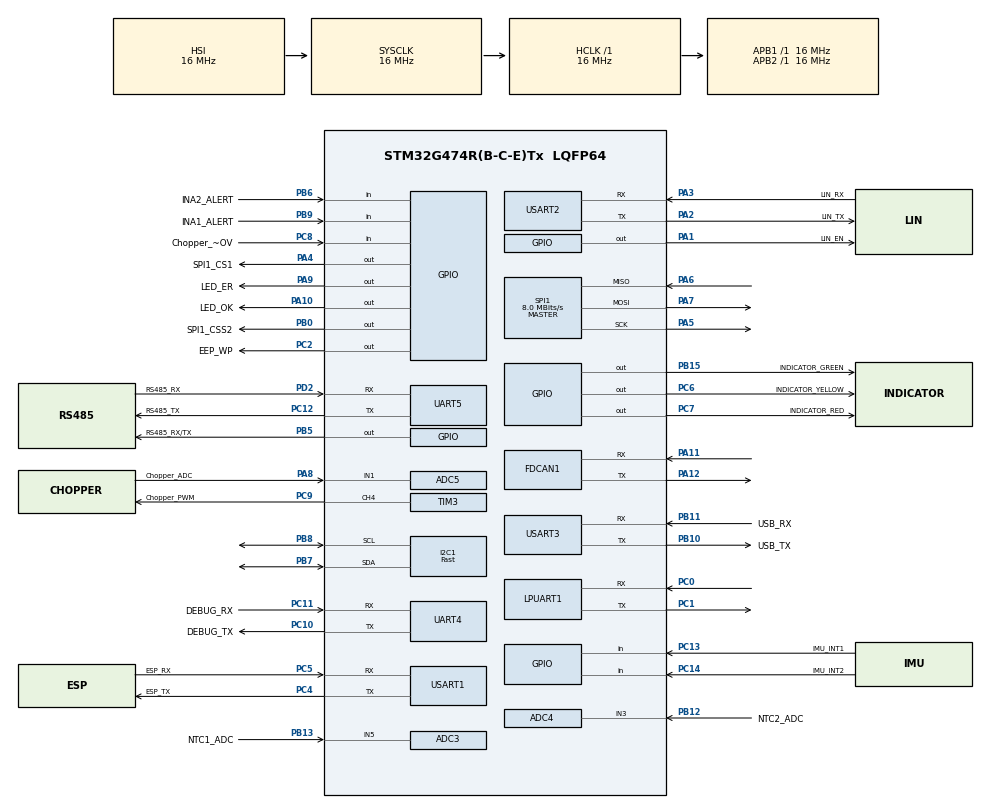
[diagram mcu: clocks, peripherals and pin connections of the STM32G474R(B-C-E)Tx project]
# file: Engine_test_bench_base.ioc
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ADC3.Channel-1\#ChannelRegularConversion=ADC_CHANNEL_5
ADC3.NbrOfConversionFlag=1
ADC3.OffsetNumber-1\#ChannelRegularConversion=ADC_OFFSET_NONE
ADC3.Rank-1\#ChannelRegularConversion=1
ADC3.SamplingTime-1\#ChannelRegularConversion=ADC_SAMPLETIME_2CYCLES_5
ADC3.master=1
ADC4.Channel-0\#ChannelRegularConversion=ADC_CHANNEL_3
ADC4.NbrOfConversionFlag=1
ADC4.OffsetNumber-0\#ChannelRegularConversion=ADC_OFFSET_NONE
ADC4.Rank-0\#ChannelRegularConversion=1
ADC4.SamplingTime-0\#ChannelRegularConversion=ADC_SAMPLETIME_2CYCLES_5
ADC5.Channel-1\#ChannelRegularConversion=ADC_CHANNEL_1
ADC5.NbrOfConversionFlag=1
ADC5.OffsetNumber-1\#ChannelRegularConversion=ADC_OFFSET_NONE
ADC5.Rank-1\#ChannelRegularConversion=1
ADC5.SamplingTime-1\#ChannelRegularConversion=ADC_SAMPLETIME_2CYCLES_5
Dma.Request0=USART1_RX
Dma.Request1=USART1_TX
Dma.USART1_RX.0.Direction=DMA_PERIPH_TO_MEMORY
Dma.USART1_RX.0.EventEnable=DISABLE
Dma.USART1_RX.0.Instance=DMA1_Channel1
Dma.USART1_RX.0.MemDataAlignment=DMA_MDATAALIGN_BYTE
Dma.USART1_RX.0.MemInc=DMA_MINC_ENABLE
Dma.USART1_RX.0.Mode=DMA_CIRCULAR
Dma.USART1_RX.0.PeriphDataAlignment=DMA_PDATAALIGN_BYTE
Dma.USART1_RX.0.PeriphInc=DMA_PINC_DISABLE
Dma.USART1_RX.0.Polarity=HAL_DMAMUX_REQ_GEN_RISING
Dma.USART1_RX.0.Priority=DMA_PRIORITY_VERY_HIGH
Dma.USART1_RX.0.RequestNumber=1
Dma.USART1_RX.0.SignalID=NONE
Dma.USART1_RX.0.SyncEnable=DISABLE
Dma.USART1_RX.0.SyncPolarity=HAL_DMAMUX_SYNC_NO_EVENT
Dma.USART1_RX.0.SyncRequestNumber=1
Dma.USART1_RX.0.SyncSignalID=NONE
Dma.USART1_TX.1.Direction=DMA_MEMORY_TO_PERIPH
Dma.USART1_TX.1.EventEnable=DISABLE
Dma.USART1_TX.1.Instance=DMA2_Channel1
Dma.USART1_TX.1.MemDataAlignment=DMA_MDATAALIGN_BYTE
Dma.USART1_TX.1.MemInc=DMA_MINC_ENABLE
Dma.USART1_TX.1.Mode=DMA_NORMAL
Dma.USART1_TX.1.PeriphDataAlignment=DMA_PDATAALIGN_BYTE
Dma.USART1_TX.1.PeriphInc=DMA_PINC_DISABLE
Dma.USART1_TX.1.Polarity=HAL_DMAMUX_REQ_GEN_RISING
Dma.USART1_TX.1.Priority=DMA_PRIORITY_VERY_HIGH
Dma.USART1_TX.1.RequestNumber=1
Dma.USART1_TX.1.SignalID=NONE
Dma.USART1_TX.1.SyncEnable=DISABLE
Dma.USART1_TX.1.SyncPolarity=HAL_DMAMUX_SYNC_NO_EVENT
Dma.USART1_TX.1.SyncRequestNumber=1
Dma.USART1_TX.1.SyncSignalID=NONE
FDCAN1.AutoRetransmission=ENABLE
FDCAN1.CalculateBaudRateNominal=500000
FDCAN1.CalculateTimeBitNominal=2000
FDCAN1.CalculateTimeQuantumNominal=125.0
FDCAN1.DataTimeSeg1=5
FDCAN1.DataTimeSeg2=4
FDCAN1.ExtFiltersNbr=1
FDCAN1.Mode=FDCAN_MODE_NORMAL
FDCAN1.NominalPrescaler=2
FDCAN1.NominalSyncJumpWidth=12
FDCAN1.NominalTimeSeg1=13
FDCAN1.NominalTimeSeg2=2
FDCAN1.TransmitPause=DISABLE
FREERTOS.Tasks01=blinkTask,24,128,StartBlinkTask,Default,NULL,Dynamic,NULL,NULL;regulatorTask,24,128,StartRegulatorTask,Default,NULL,Dynamic,NULL,NULL;uartTxTask,24,128,StartUartTxTask,Default,NULL,Dynamic,NULL,NULL;uartRxTask,24,128,StartUartRxTask,Default,NULL,Dynamic,NULL,NULL;canTxBrakeTask,24,128,StartCanTxBrakeTask,Default,NULL,Dynamic,NULL,NULL;canTxTestTask,24,128,StartCanTxTestTask,Default,NULL,Dynamic,NULL,NULL;inaTask,24,128,StartInaTask,Default,NULL,Dynamic,NULL,NULL
FREERTOS.configTOTAL_HEAP_SIZE=6072
I2C1.I2C_Speed_Mode=I2C_Fast
I2C1.Timing=0x00300617
Mcu.Family=STM32G4
Mcu.Name=STM32G474R(B-C-E)Tx
Mcu.Package=LQFP64
NVIC.DMA1_Channel1_IRQn=true\:5\:0\:false\:false\:true\:true\:false\:true\:true
NVIC.DMA2_Channel1_IRQn=true\:5\:0\:false\:false\:true\:false\:false\:true\:true
NVIC.FDCAN1_IT0_IRQn=true\:5\:0\:false\:false\:true\:true\:true\:true\:true
NVIC.PriorityGroup=NVIC_PRIORITYGROUP_4
NVIC.TIM1_UP_TIM16_IRQn=true\:15\:0\:false\:false\:true\:false\:false\:true\:true
NVIC.TimeBase=TIM1_UP_TIM16_IRQn
NVIC.TimeBaseIP=TIM1
NVIC.USART1_IRQn=true\:5\:0\:false\:false\:true\:true\:true\:true\:true
PA1.GPIO_Label=LIN_EN
PA1.Signal=GPIO_Output
PA10.GPIO_Label=LED_OK
PA10.Signal=GPIO_Output
PA11.GPIO_Speed=GPIO_SPEED_FREQ_VERY_HIGH
PA11.Mode=FDCAN_Activate
PA11.Signal=FDCAN1_RX
PA12.GPIO_Speed=GPIO_SPEED_FREQ_VERY_HIGH
PA12.Mode=FDCAN_Activate
PA12.Signal=FDCAN1_TX
PA13.Mode=JTAG_5_pins
PA13.Signal=SYS_JTMS-SWDIO
PA14.Mode=JTAG_5_pins
PA14.Signal=SYS_JTCK-SWCLK
PA15.Mode=JTAG_5_pins
PA15.Signal=SYS_JTDI
PA2.GPIO_Label=LIN_TX
PA2.Mode=Asynchronous
PA2.Signal=USART2_TX
PA3.GPIO_Label=LIN_RX
PA3.Mode=Asynchronous
PA3.Signal=USART2_RX
PA4.GPIO_Label=SPI1_CS1
PA4.Signal=GPIO_Output
PA5.Mode=Full_Duplex_Master
PA5.Signal=SPI1_SCK
PA6.Mode=Full_Duplex_Master
PA6.Signal=SPI1_MISO
PA7.Mode=Full_Duplex_Master
PA7.Signal=SPI1_MOSI
PA8.GPIO_Label=Chopper_ADC
PA8.Mode=IN1-Single-Ended
PA8.Signal=ADC5_IN1
PA9.GPIO_Label=LED_ER
PA9.Signal=GPIO_Output
PB0.GPIO_Label=SPI1_CSS2
PB0.Signal=GPIO_Output
PB10.GPIO_Label=USB_TX
PB10.Mode=Asynchronous
PB10.Signal=USART3_TX
PB11.GPIO_Label=USB_RX
PB11.Mode=Asynchronous
PB11.Signal=USART3_RX
PB12.GPIO_Label=NTC2_ADC
PB12.Mode=IN3-Single-Ended
PB12.Signal=ADC4_IN3
PB13.GPIO_Label=NTC1_ADC
PB13.Mode=IN5-Single-Ended
PB13.Signal=ADC3_IN5
PB15.GPIO_Label=INDICATOR_GREEN
PB15.Signal=GPIO_Output
PB3.Mode=JTAG_5_pins
PB3.Signal=SYS_JTDO-SWO
PB4.Mode=JTAG_5_pins
PB4.Signal=SYS_JTRST
PB5.GPIO_Label=RS485_RX/TX
PB5.Signal=GPIO_Output
PB6.GPIO_Label=INA2_ALERT
PB6.Signal=GPIO_Input
PB7.Mode=I2C
PB7.Signal=I2C1_SDA
PB8-BOOT0.Mode=I2C
PB8-BOOT0.Signal=I2C1_SCL
PB9.GPIO_Label=INA1_ALERT
PB9.Signal=GPIO_Input
PC0.Mode=Asynchronous
PC0.Signal=LPUART1_RX
PC1.Mode=Asynchronous
PC1.Signal=LPUART1_TX
PC10.GPIO_Label=DEBUG_TX
PC10.Mode=Asynchronous
PC10.Signal=UART4_TX
PC11.GPIO_Label=DEBUG_RX
PC11.Mode=Asynchronous
PC11.Signal=UART4_RX
PC12.GPIO_Label=RS485_TX
PC12.Mode=Asynchronous
PC12.Signal=UART5_TX
PC13.GPIO_Label=IMU_INT1
PC13.Signal=GPIO_Input
PC14-OSC32_IN.GPIO_Label=IMU_INT2
PC14-OSC32_IN.Signal=GPIO_Input
PC2.GPIO_Label=EEP_WP
PC2.Signal=GPIO_Output
PC4.GPIO_Label=ESP_TX
PC4.Mode=Asynchronous
PC4.Signal=USART1_TX
PC5.GPIO_Label=ESP_RX
PC5.Mode=Asynchronous
PC5.Signal=USART1_RX
PC6.GPIO_Label=INDICATOR_YELLOW
PC6.Signal=GPIO_Output
PC7.GPIO_Label=INDICATOR_RED
PC7.Signal=GPIO_Output
PC8.GPIO_Label=Chopper_~OV
PC8.Signal=GPIO_Input
PC9.GPIO_Label=Chopper_PWM
PC9.Signal=S_TIM3_CH4
PD2.GPIO_Label=RS485_RX
PD2.Mode=Asynchronous
PD2.Signal=UART5_RX
PF0-OSC_IN.Mode=HSE-External-Oscillator
PF0-OSC_IN.Signal=RCC_OSC_IN
PF1-OSC_OUT.Mode=HSE-External-Oscillator
PF1-OSC_OUT.Signal=RCC_OSC_OUT
ProjectManager.HeapSize=0x200
ProjectManager.StackSize=0x400
ProjectManager.TargetToolchain=CMake
RCC.AHBFreq_Value=16000000
RCC.APB1Freq_Value=16000000
RCC.APB1TimFreq_Value=16000000
RCC.APB2Freq_Value=16000000
RCC.APB2TimFreq_Value=16000000
RCC.CortexFreq_Value=16000000
RCC.EXTERNAL_CLOCK_VALUE=12288000
RCC.HCLKFreq_Value=16000000
RCC.HSE_VALUE=24000000
RCC.HSI48_VALUE=48000000
RCC.HSI_VALUE=16000000
RCC.LSE_VALUE=32768
RCC.SYSCLKFreq_VALUE=16000000
RCC.USBFreq_Value=64000000
RCC.VCOOutputFreq_Value=128000000
SH.S_TIM3_CH4.0=TIM3_CH4,PWM Generation4 CH4
SPI1.CalculateBaudRate=8.0 MBits/s
SPI1.Direction=SPI_DIRECTION_2LINES
SPI1.Mode=SPI_MODE_MASTER
SPI1.VirtualType=VM_MASTER
TIM3.Channel-PWM\ Generation4\ CH4=TIM_CHANNEL_4
USART1.VirtualMode-Asynchronous=VM_ASYNC
USART2.VirtualMode-Asynchronous=VM_ASYNC
USART3.VirtualMode-Asynchronous=VM_ASYNC
VP_FREERTOS_VS_CMSIS_V2.Mode=CMSIS_V2
VP_SYS_VS_DBSignals.Mode=DisableDeadBatterySignals
VP_SYS_VS_tim1.Mode=TIM1
board=custom

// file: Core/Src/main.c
/* USER CODE BEGIN Header */
/**
  ******************************************************************************
  * @file           : main.c
  * @brief          : Main program body
  ******************************************************************************
  * @attention
  *
  * Copyright (c) 2026 STMicroelectronics.
  * All rights reserved.
  *
  * This software is licensed under terms that can be found in the LICENSE file
  * in the root directory of this software component.
  * If no LICENSE file comes with this software, it is provided AS-IS.
  *
  ******************************************************************************
  */
/* USER CODE END Header */
#include "main.h"
#include "cmsis_os.h"
#include "cmsis_os2.h"
#include "enums.h"
#include "libVescCan/VESC_Consts.h"
#include "stm32g4xx_hal_gpio.h"
#include <stdint.h>

ADC_HandleTypeDef hadc3;
ADC_HandleTypeDef hadc4;
ADC_HandleTypeDef hadc5;

FDCAN_HandleTypeDef hfdcan1;

I2C_HandleTypeDef hi2c1;

UART_HandleTypeDef hlpuart1;
UART_HandleTypeDef huart4;
UART_HandleTypeDef huart5;
UART_HandleTypeDef huart1;
UART_HandleTypeDef huart2;
UART_HandleTypeDef huart3;
DMA_HandleTypeDef hdma_usart1_rx;
DMA_HandleTypeDef hdma_usart1_tx;

SPI_HandleTypeDef hspi1;

TIM_HandleTypeDef htim3;

/* Definitions for blinkTask */
osThreadId_t blinkTaskHandle;
const osThreadAttr_t blinkTask_attributes = {
  .name = "blinkTask",
  .priority = (osPriority_t) osPriorityNormal,
  .stack_size = 128 * 4
};
/* Definitions for regulatorTask */
osThreadId_t regulatorTaskHandle;
const osThreadAttr_t regulatorTask_attributes = {
  .name = "regulatorTask",
  .priority = (osPriority_t) osPriorityNormal,
  .stack_size = 128 * 4
};
/* Definitions for uartTxTask */
osThreadId_t uartTxTaskHandle;
const osThreadAttr_t uartTxTask_attributes = {
  .name = "uartTxTask",
  .priority = (osPriority_t) osPriorityNormal,
  .stack_size = 128 * 4
};
/* Definitions for uartRxTask */
osThreadId_t uartRxTaskHandle;
const osThreadAttr_t uartRxTask_attributes = {
  .name = "uartRxTask",
  .priority = (osPriority_t) osPriorityNormal,
  .stack_size = 128 * 4
};
/* Definitions for canTxBrakeTask */
osThreadId_t canTxBrakeTaskHandle;
const osThreadAttr_t canTxBrakeTask_attributes = {
  .name = "canTxBrakeTask",
  .priority = (osPriority_t) osPriorityNormal,
  .stack_size = 128 * 4
};
/* Definitions for canTxTestTask */
osThreadId_t canTxTestTaskHandle;
const osThreadAttr_t canTxTestTask_attributes = {
  .name = "canTxTestTask",
  .priority = (osPriority_t) osPriorityNormal,
  .stack_size = 128 * 4
};
/* Definitions for inaTask */
osThreadId_t inaTaskHandle;
const osThreadAttr_t inaTask_attributes = {
  .name = "inaTask",
  .priority = (osPriority_t) osPriorityNormal,
  .stack_size = 128 * 4
};
/* USER CODE BEGIN PV */
volatile uint8_t brakeVescID = 0x31;
volatile uint8_t testVescID = 0x85;

volatile uint8_t newVescID = 0x00;

volatile float torqueSetpoint = 0;
volatile float torqueValue = 0;

volatile bool brakeCommandActive = false;
volatile bool regulatorON = false;
volatile uint8_t brakeMotorVescCommand = 0;
volatile float brakeMotorVescData = 0;

volatile bool testCommandActive = false;
volatile uint8_t testMotorVescCommand = 0;
volatile float testMotorVescData = 0;

volatile struct MotorStatus brakeMotorStatus;
volatile struct MotorStatus testMotorStatus;

volatile bool uart_started = false;

typedef struct {
    float voltage_V;
    float current_A;
} INA237_Data_t;

volatile INA237_Data_t ina1_data;
volatile INA237_Data_t ina2_data;
/* USER CODE END PV */

void SystemClock_Config(void);
static void MX_GPIO_Init(void);
static void MX_DMA_Init(void);
static void MX_UART4_Init(void);
static void MX_FDCAN1_Init(void);
static void MX_I2C1_Init(void);
static void MX_SPI1_Init(void);
static void MX_ADC5_Init(void);
static void MX_LPUART1_UART_Init(void);
static void MX_USART1_UART_Init(void);
static void MX_USART2_UART_Init(void);
static void MX_USART3_UART_Init(void);
static void MX_ADC3_Init(void);
static void MX_ADC4_Init(void);
static void MX_UART5_Init(void);
static void MX_TIM3_Init(void);
void StartBlinkTask(void *argument);
void StartRegulatorTask(void *argument);
void StartUartTxTask(void *argument);
void StartUartRxTask(void *argument);
void StartCanTxBrakeTask(void *argument);
void StartCanTxTestTask(void *argument);
void StartInaTask(void *argument);

int main(void)
{

  /* MCU Configuration--------------------------------------------------------*/

  /* Reset of all peripherals, Initializes the Flash interface and the Systick. */
  HAL_Init();

  /* Configure the system clock */
  SystemClock_Config();

  /* Initialize all configured peripherals */
  MX_GPIO_Init();
  MX_DMA_Init();
  MX_UART4_Init();
  MX_FDCAN1_Init();
  MX_I2C1_Init();
  MX_SPI1_Init();
  MX_ADC5_Init();
  MX_LPUART1_UART_Init();
  MX_USART1_UART_Init();
  MX_USART2_UART_Init();
  MX_USART3_UART_Init();
  MX_ADC3_Init();
  MX_ADC4_Init();
  MX_UART5_Init();
  MX_TIM3_Init();
  /* USER CODE BEGIN 2 */
  FDCAN_Config(&hfdcan1);
  HAL_Delay(1000);

  /* USER CODE END 2 */

  /* Init scheduler */
  osKernelInitialize();

  /* Create the thread(s) */
  /* creation of blinkTask */
  blinkTaskHandle = osThreadNew(StartBlinkTask, NULL, &blinkTask_attributes);

  /* creation of regulatorTask */
  regulatorTaskHandle = osThreadNew(StartRegulatorTask, NULL, &regulatorTask_attributes);

  /* creation of uartTxTask */
  uartTxTaskHandle = osThreadNew(StartUartTxTask, NULL, &uartTxTask_attributes);

  /* creation of uartRxTask */
  uartRxTaskHandle = osThreadNew(StartUartRxTask, NULL, &uartRxTask_attributes);

  /* creation of canTxBrakeTask */
  canTxBrakeTaskHandle = osThreadNew(StartCanTxBrakeTask, NULL, &canTxBrakeTask_attributes);

  /* creation of canTxTestTask */
  canTxTestTaskHandle = osThreadNew(StartCanTxTestTask, NULL, &canTxTestTask_attributes);

  /* creation of inaTask */
  inaTaskHandle = osThreadNew(StartInaTask, NULL, &inaTask_attributes);

  /* Start scheduler */
  osKernelStart();

  /* We should never get here as control is now taken by the scheduler */

  /* Infinite loop */
  while (1)
  {

  }
}

void SystemClock_Config(void)
{
  RCC_OscInitTypeDef RCC_OscInitStruct = {0};
  RCC_ClkInitTypeDef RCC_ClkInitStruct = {0};

  /** Configure the main internal regulator output voltage
  */
  HAL_PWREx_ControlVoltageScaling(PWR_REGULATOR_VOLTAGE_SCALE1);

  /** Initializes the RCC Oscillators according to the specified parameters
  * in the RCC_OscInitTypeDef structure.
  */
  RCC_OscInitStruct.OscillatorType = RCC_OSCILLATORTYPE_HSI;
  RCC_OscInitStruct.HSIState = RCC_HSI_ON;
  RCC_OscInitStruct.HSICalibrationValue = RCC_HSICALIBRATION_DEFAULT;
  RCC_OscInitStruct.PLL.PLLState = RCC_PLL_NONE;
  if (HAL_RCC_OscConfig(&RCC_OscInitStruct) != HAL_OK)
  {
    Error_Handler();
  }

  /** Initializes the CPU, AHB and APB buses clocks
  */
  RCC_ClkInitStruct.ClockType = RCC_CLOCKTYPE_HCLK|RCC_CLOCKTYPE_SYSCLK
                              |RCC_CLOCKTYPE_PCLK1|RCC_CLOCKTYPE_PCLK2;
  RCC_ClkInitStruct.SYSCLKSource = RCC_SYSCLKSOURCE_HSI;
  RCC_ClkInitStruct.AHBCLKDivider = RCC_SYSCLK_DIV1;
  RCC_ClkInitStruct.APB1CLKDivider = RCC_HCLK_DIV1;
  RCC_ClkInitStruct.APB2CLKDivider = RCC_HCLK_DIV1;

  if (HAL_RCC_ClockConfig(&RCC_ClkInitStruct, FLASH_LATENCY_0) != HAL_OK)
  {
    Error_Handler();
  }
}

static void MX_ADC3_Init(void)
{

  ADC_MultiModeTypeDef multimode = {0};
  ADC_ChannelConfTypeDef sConfig = {0};

  /** Common config
  */
  hadc3.Instance = ADC3;
  hadc3.Init.ClockPrescaler = ADC_CLOCK_SYNC_PCLK_DIV2;
  hadc3.Init.Resolution = ADC_RESOLUTION_12B;
  hadc3.Init.DataAlign = ADC_DATAALIGN_RIGHT;
  hadc3.Init.GainCompensation = 0;
  hadc3.Init.ScanConvMode = ADC_SCAN_DISABLE;
  hadc3.Init.EOCSelection = ADC_EOC_SINGLE_CONV;
  hadc3.Init.LowPowerAutoWait = DISABLE;
  hadc3.Init.ContinuousConvMode = DISABLE;
  hadc3.Init.NbrOfConversion = 1;
  hadc3.Init.DiscontinuousConvMode = DISABLE;
  hadc3.Init.ExternalTrigConv = ADC_SOFTWARE_START;
  hadc3.Init.ExternalTrigConvEdge = ADC_EXTERNALTRIGCONVEDGE_NONE;
  hadc3.Init.DMAContinuousRequests = DISABLE;
  hadc3.Init.Overrun = ADC_OVR_DATA_PRESERVED;
  hadc3.Init.OversamplingMode = DISABLE;
  if (HAL_ADC_Init(&hadc3) != HAL_OK)
  {
    Error_Handler();
  }

  /** Configure the ADC multi-mode
  */
  multimode.Mode = ADC_MODE_INDEPENDENT;
  if (HAL_ADCEx_MultiModeConfigChannel(&hadc3, &multimode) != HAL_OK)
  {
    Error_Handler();
  }

  /** Configure Regular Channel
  */
  sConfig.Channel = ADC_CHANNEL_5;
  sConfig.Rank = ADC_REGULAR_RANK_1;
  sConfig.SamplingTime = ADC_SAMPLETIME_2CYCLES_5;
  sConfig.SingleDiff = ADC_SINGLE_ENDED;
  sConfig.OffsetNumber = ADC_OFFSET_NONE;
  sConfig.Offset = 0;
  if (HAL_ADC_ConfigChannel(&hadc3, &sConfig) != HAL_OK)
  {
    Error_Handler();
  }

}

static void MX_ADC4_Init(void)
{

  ADC_ChannelConfTypeDef sConfig = {0};

  /** Common config
  */
  hadc4.Instance = ADC4;
  hadc4.Init.ClockPrescaler = ADC_CLOCK_SYNC_PCLK_DIV2;
  hadc4.Init.Resolution = ADC_RESOLUTION_12B;
  hadc4.Init.DataAlign = ADC_DATAALIGN_RIGHT;
  hadc4.Init.GainCompensation = 0;
  hadc4.Init.ScanConvMode = ADC_SCAN_DISABLE;
  hadc4.Init.EOCSelection = ADC_EOC_SINGLE_CONV;
  hadc4.Init.LowPowerAutoWait = DISABLE;
  hadc4.Init.ContinuousConvMode = DISABLE;
  hadc4.Init.NbrOfConversion = 1;
  hadc4.Init.DiscontinuousConvMode = DISABLE;
  hadc4.Init.ExternalTrigConv = ADC_SOFTWARE_START;
  hadc4.Init.ExternalTrigConvEdge = ADC_EXTERNALTRIGCONVEDGE_NONE;
  hadc4.Init.DMAContinuousRequests = DISABLE;
  hadc4.Init.Overrun = ADC_OVR_DATA_PRESERVED;
  hadc4.Init.OversamplingMode = DISABLE;
  if (HAL_ADC_Init(&hadc4) != HAL_OK)
  {
    Error_Handler();
  }

  /** Configure Regular Channel
  */
  sConfig.Channel = ADC_CHANNEL_3;
  sConfig.Rank = ADC_REGULAR_RANK_1;
  sConfig.SamplingTime = ADC_SAMPLETIME_2CYCLES_5;
  sConfig.SingleDiff = ADC_SINGLE_ENDED;
  sConfig.OffsetNumber = ADC_OFFSET_NONE;
  sConfig.Offset = 0;
  if (HAL_ADC_ConfigChannel(&hadc4, &sConfig) != HAL_OK)
  {
    Error_Handler();
  }

}

static void MX_ADC5_Init(void)
{

  ADC_ChannelConfTypeDef sConfig = {0};

  /** Common config
  */
  hadc5.Instance = ADC5;
  hadc5.Init.ClockPrescaler = ADC_CLOCK_SYNC_PCLK_DIV2;
  hadc5.Init.Resolution = ADC_RESOLUTION_12B;
  hadc5.Init.DataAlign = ADC_DATAALIGN_RIGHT;
  hadc5.Init.GainCompensation = 0;
  hadc5.Init.ScanConvMode = ADC_SCAN_DISABLE;
  hadc5.Init.EOCSelection = ADC_EOC_SINGLE_CONV;
  hadc5.Init.LowPowerAutoWait = DISABLE;
  hadc5.Init.ContinuousConvMode = DISABLE;
  hadc5.Init.NbrOfConversion = 1;
  hadc5.Init.DiscontinuousConvMode = DISABLE;
  hadc5.Init.ExternalTrigConv = ADC_SOFTWARE_START;
  hadc5.Init.ExternalTrigConvEdge = ADC_EXTERNALTRIGCONVEDGE_NONE;
  hadc5.Init.DMAContinuousRequests = DISABLE;
  hadc5.Init.Overrun = ADC_OVR_DATA_PRESERVED;
  hadc5.Init.OversamplingMode = DISABLE;
  if (HAL_ADC_Init(&hadc5) != HAL_OK)
  {
    Error_Handler();
  }

  /** Configure Regular Channel
  */
  sConfig.Channel = ADC_CHANNEL_1;
  sConfig.Rank = ADC_REGULAR_RANK_1;
  sConfig.SamplingTime = ADC_SAMPLETIME_2CYCLES_5;
  sConfig.SingleDiff = ADC_SINGLE_ENDED;
  sConfig.OffsetNumber = ADC_OFFSET_NONE;
  sConfig.Offset = 0;
  if (HAL_ADC_ConfigChannel(&hadc5, &sConfig) != HAL_OK)
  {
    Error_Handler();
  }

}

static void MX_FDCAN1_Init(void)
{

  hfdcan1.Instance = FDCAN1;
  hfdcan1.Init.ClockDivider = FDCAN_CLOCK_DIV1;
  hfdcan1.Init.FrameFormat = FDCAN_FRAME_CLASSIC;
  hfdcan1.Init.Mode = FDCAN_MODE_NORMAL;
  hfdcan1.Init.AutoRetransmission = ENABLE;
  hfdcan1.Init.TransmitPause = DISABLE;
  hfdcan1.Init.ProtocolException = DISABLE;
  hfdcan1.Init.NominalPrescaler = 2;
  hfdcan1.Init.NominalSyncJumpWidth = 12;
  hfdcan1.Init.NominalTimeSeg1 = 13;
  hfdcan1.Init.NominalTimeSeg2 = 2;
  hfdcan1.Init.DataPrescaler = 1;
  hfdcan1.Init.DataSyncJumpWidth = 1;
  hfdcan1.Init.DataTimeSeg1 = 5;
  hfdcan1.Init.DataTimeSeg2 = 4;
  hfdcan1.Init.StdFiltersNbr = 0;
  hfdcan1.Init.ExtFiltersNbr = 1;
  hfdcan1.Init.TxFifoQueueMode = FDCAN_TX_FIFO_OPERATION;
  if (HAL_FDCAN_Init(&hfdcan1) != HAL_OK)
  {
    Error_Handler();
  }

}

static void MX_I2C1_Init(void)
{

  hi2c1.Instance = I2C1;
  hi2c1.Init.Timing = 0x00300617;
  hi2c1.Init.OwnAddress1 = 0;
  hi2c1.Init.AddressingMode = I2C_ADDRESSINGMODE_7BIT;
  hi2c1.Init.DualAddressMode = I2C_DUALADDRESS_DISABLE;
  hi2c1.Init.OwnAddress2 = 0;
  hi2c1.Init.OwnAddress2Masks = I2C_OA2_NOMASK;
  hi2c1.Init.GeneralCallMode = I2C_GENERALCALL_DISABLE;
  hi2c1.Init.NoStretchMode = I2C_NOSTRETCH_DISABLE;
  if (HAL_I2C_Init(&hi2c1) != HAL_OK)
  {
    Error_Handler();
  }

  /** Configure Analogue filter
  */
  if (HAL_I2CEx_ConfigAnalogFilter(&hi2c1, I2C_ANALOGFILTER_ENABLE) != HAL_OK)
  {
    Error_Handler();
  }

  /** Configure Digital filter
  */
  if (HAL_I2CEx_ConfigDigitalFilter(&hi2c1, 0) != HAL_OK)
  {
    Error_Handler();
  }

}

static void MX_LPUART1_UART_Init(void)
{

  hlpuart1.Instance = LPUART1;
  hlpuart1.Init.BaudRate = 209700;
  hlpuart1.Init.WordLength = UART_WORDLENGTH_8B;
  hlpuart1.Init.StopBits = UART_STOPBITS_1;
  hlpuart1.Init.Parity = UART_PARITY_NONE;
  hlpuart1.Init.Mode = UART_MODE_TX_RX;
  hlpuart1.Init.HwFlowCtl = UART_HWCONTROL_NONE;
  hlpuart1.Init.OneBitSampling = UART_ONE_BIT_SAMPLE_DISABLE;
  hlpuart1.Init.ClockPrescaler = UART_PRESCALER_DIV1;
  hlpuart1.AdvancedInit.AdvFeatureInit = UART_ADVFEATURE_NO_INIT;
  if (HAL_UART_Init(&hlpuart1) != HAL_OK)
  {
    Error_Handler();
  }
  if (HAL_UARTEx_SetTxFifoThreshold(&hlpuart1, UART_TXFIFO_THRESHOLD_1_8) != HAL_OK)
  {
    Error_Handler();
  }
  if (HAL_UARTEx_SetRxFifoThreshold(&hlpuart1, UART_RXFIFO_THRESHOLD_1_8) != HAL_OK)
  {
    Error_Handler();
  }
  if (HAL_UARTEx_DisableFifoMode(&hlpuart1) != HAL_OK)
  {
    Error_Handler();
  }

}

static void MX_UART4_Init(void)
{

  huart4.Instance = UART4;
  huart4.Init.BaudRate = 115200;
  huart4.Init.WordLength = UART_WORDLENGTH_8B;
  huart4.Init.StopBits = UART_STOPBITS_1;
  huart4.Init.Parity = UART_PARITY_NONE;
  huart4.Init.Mode = UART_MODE_TX_RX;
  huart4.Init.HwFlowCtl = UART_HWCONTROL_NONE;
  huart4.Init.OverSampling = UART_OVERSAMPLING_16;
  huart4.Init.OneBitSampling = UART_ONE_BIT_SAMPLE_DISABLE;
  huart4.Init.ClockPrescaler = UART_PRESCALER_DIV1;
  huart4.AdvancedInit.AdvFeatureInit = UART_ADVFEATURE_NO_INIT;
  if (HAL_UART_Init(&huart4) != HAL_OK)
  {
    Error_Handler();
  }
  if (HAL_UARTEx_SetTxFifoThreshold(&huart4, UART_TXFIFO_THRESHOLD_1_8) != HAL_OK)
  {
    Error_Handler();
  }
  if (HAL_UARTEx_SetRxFifoThreshold(&huart4, UART_RXFIFO_THRESHOLD_1_8) != HAL_OK)
  {
    Error_Handler();
  }
  if (HAL_UARTEx_DisableFifoMode(&huart4) != HAL_OK)
  {
    Error_Handler();
  }

}

static void MX_UART5_Init(void)
{

  huart5.Instance = UART5;
  huart5.Init.BaudRate = 115200;
  huart5.Init.WordLength = UART_WORDLENGTH_8B;
  huart5.Init.StopBits = UART_STOPBITS_1;
  huart5.Init.Parity = UART_PARITY_NONE;
  huart5.Init.Mode = UART_MODE_TX_RX;
  huart5.Init.HwFlowCtl = UART_HWCONTROL_NONE;
  huart5.Init.OverSampling = UART_OVERSAMPLING_16;
  huart5.Init.OneBitSampling = UART_ONE_BIT_SAMPLE_DISABLE;
  huart5.Init.ClockPrescaler = UART_PRESCALER_DIV1;
  huart5.AdvancedInit.AdvFeatureInit = UART_ADVFEATURE_NO_INIT;
  if (HAL_UART_Init(&huart5) != HAL_OK)
  {
    Error_Handler();
  }
  if (HAL_UARTEx_SetTxFifoThreshold(&huart5, UART_TXFIFO_THRESHOLD_1_8) != HAL_OK)
  {
    Error_Handler();
  }
  if (HAL_UARTEx_SetRxFifoThreshold(&huart5, UART_RXFIFO_THRESHOLD_1_8) != HAL_OK)
  {
    Error_Handler();
  }
  if (HAL_UARTEx_DisableFifoMode(&huart5) != HAL_OK)
  {
    Error_Handler();
  }

}

static void MX_USART1_UART_Init(void)
{

  huart1.Instance = USART1;
  huart1.Init.BaudRate = 115200;
  huart1.Init.WordLength = UART_WORDLENGTH_8B;
  huart1.Init.StopBits = UART_STOPBITS_1;
  huart1.Init.Parity = UART_PARITY_NONE;
  huart1.Init.Mode = UART_MODE_TX_RX;
  huart1.Init.HwFlowCtl = UART_HWCONTROL_NONE;
  huart1.Init.OverSampling = UART_OVERSAMPLING_16;
  huart1.Init.OneBitSampling = UART_ONE_BIT_SAMPLE_DISABLE;
  huart1.Init.ClockPrescaler = UART_PRESCALER_DIV1;
  huart1.AdvancedInit.AdvFeatureInit = UART_ADVFEATURE_NO_INIT;
  if (HAL_UART_Init(&huart1) != HAL_OK)
  {
    Error_Handler();
  }
  if (HAL_UARTEx_SetTxFifoThreshold(&huart1, UART_TXFIFO_THRESHOLD_1_8) != HAL_OK)
  {
    Error_Handler();
  }
  if (HAL_UARTEx_SetRxFifoThreshold(&huart1, UART_RXFIFO_THRESHOLD_1_8) != HAL_OK)
  {
    Error_Handler();
  }
  if (HAL_UARTEx_DisableFifoMode(&huart1) != HAL_OK)
  {
    Error_Handler();
  }

}

static void MX_USART2_UART_Init(void)
{

  huart2.Instance = USART2;
  huart2.Init.BaudRate = 115200;
  huart2.Init.WordLength = UART_WORDLENGTH_8B;
  huart2.Init.StopBits = UART_STOPBITS_1;
  huart2.Init.Parity = UART_PARITY_NONE;
  huart2.Init.Mode = UART_MODE_TX_RX;
  huart2.Init.HwFlowCtl = UART_HWCONTROL_NONE;
  huart2.Init.OverSampling = UART_OVERSAMPLING_16;
  huart2.Init.OneBitSampling = UART_ONE_BIT_SAMPLE_DISABLE;
  huart2.Init.ClockPrescaler = UART_PRESCALER_DIV1;
  huart2.AdvancedInit.AdvFeatureInit = UART_ADVFEATURE_NO_INIT;
  if (HAL_UART_Init(&huart2) != HAL_OK)
  {
    Error_Handler();
  }
  if (HAL_UARTEx_SetTxFifoThreshold(&huart2, UART_TXFIFO_THRESHOLD_1_8) != HAL_OK)
  {
    Error_Handler();
  }
  if (HAL_UARTEx_SetRxFifoThreshold(&huart2, UART_RXFIFO_THRESHOLD_1_8) != HAL_OK)
  {
    Error_Handler();
  }
  if (HAL_UARTEx_DisableFifoMode(&huart2) != HAL_OK)
  {
    Error_Handler();
  }

}

static void MX_USART3_UART_Init(void)
{

  huart3.Instance = USART3;
  huart3.Init.BaudRate = 115200;
  huart3.Init.WordLength = UART_WORDLENGTH_8B;
  huart3.Init.StopBits = UART_STOPBITS_1;
  huart3.Init.Parity = UART_PARITY_NONE;
  huart3.Init.Mode = UART_MODE_TX_RX;
  huart3.Init.HwFlowCtl = UART_HWCONTROL_NONE;
  huart3.Init.OverSampling = UART_OVERSAMPLING_16;
  huart3.Init.OneBitSampling = UART_ONE_BIT_SAMPLE_DISABLE;
  huart3.Init.ClockPrescaler = UART_PRESCALER_DIV1;
  huart3.AdvancedInit.AdvFeatureInit = UART_ADVFEATURE_NO_INIT;
  if (HAL_UART_Init(&huart3) != HAL_OK)
  {
    Error_Handler();
  }
  if (HAL_UARTEx_SetTxFifoThreshold(&huart3, UART_TXFIFO_THRESHOLD_1_8) != HAL_OK)
  {
    Error_Handler();
  }
  if (HAL_UARTEx_SetRxFifoThreshold(&huart3, UART_RXFIFO_THRESHOLD_1_8) != HAL_OK)
  {
    Error_Handler();
  }
  if (HAL_UARTEx_DisableFifoMode(&huart3) != HAL_OK)
  {
    Error_Handler();
  }

}

static void MX_SPI1_Init(void)
{

  /* SPI1 parameter configuration*/
  hspi1.Instance = SPI1;
  hspi1.Init.Mode = SPI_MODE_MASTER;
  hspi1.Init.Direction = SPI_DIRECTION_2LINES;
  hspi1.Init.DataSize = SPI_DATASIZE_4BIT;
  hspi1.Init.CLKPolarity = SPI_POLARITY_LOW;
  hspi1.Init.CLKPhase = SPI_PHASE_1EDGE;
  hspi1.Init.NSS = SPI_NSS_SOFT;
  hspi1.Init.BaudRatePrescaler = SPI_BAUDRATEPRESCALER_2;
  hspi1.Init.FirstBit = SPI_FIRSTBIT_MSB;
  hspi1.Init.TIMode = SPI_TIMODE_DISABLE;
  hspi1.Init.CRCCalculation = SPI_CRCCALCULATION_DISABLE;
  hspi1.Init.CRCPolynomial = 7;
  hspi1.Init.CRCLength = SPI_CRC_LENGTH_DATASIZE;
  hspi1.Init.NSSPMode = SPI_NSS_PULSE_ENABLE;
  if (HAL_SPI_Init(&hspi1) != HAL_OK)
  {
    Error_Handler();
  }

}

static void MX_TIM3_Init(void)
{

  TIM_MasterConfigTypeDef sMasterConfig = {0};
  TIM_OC_InitTypeDef sConfigOC = {0};

  htim3.Instance = TIM3;
  htim3.Init.Prescaler = 0;
  htim3.Init.CounterMode = TIM_COUNTERMODE_UP;
  htim3.Init.Period = 65535;
  htim3.Init.ClockDivision = TIM_CLOCKDIVISION_DIV1;
  htim3.Init.AutoReloadPreload = TIM_AUTORELOAD_PRELOAD_DISABLE;
  if (HAL_TIM_PWM_Init(&htim3) != HAL_OK)
  {
    Error_Handler();
  }
  sMasterConfig.MasterOutputTrigger = TIM_TRGO_RESET;
  sMasterConfig.MasterSlaveMode = TIM_MASTERSLAVEMODE_DISABLE;
  if (HAL_TIMEx_MasterConfigSynchronization(&htim3, &sMasterConfig) != HAL_OK)
  {
    Error_Handler();
  }
  sConfigOC.OCMode = TIM_OCMODE_PWM1;
  sConfigOC.Pulse = 0;
  sConfigOC.OCPolarity = TIM_OCPOLARITY_HIGH;
  sConfigOC.OCFastMode = TIM_OCFAST_DISABLE;
  if (HAL_TIM_PWM_ConfigChannel(&htim3, &sConfigOC, TIM_CHANNEL_4) != HAL_OK)
  {
    Error_Handler();
  }
  HAL_TIM_MspPostInit(&htim3);

}

static void MX_DMA_Init(void)
{

  /* DMA controller clock enable */
  __HAL_RCC_DMAMUX1_CLK_ENABLE();
  __HAL_RCC_DMA1_CLK_ENABLE();
  __HAL_RCC_DMA2_CLK_ENABLE();

  /* DMA interrupt init */
  /* DMA1_Channel1_IRQn interrupt configuration */
  HAL_NVIC_SetPriority(DMA1_Channel1_IRQn, 5, 0);
  HAL_NVIC_EnableIRQ(DMA1_Channel1_IRQn);
  /* DMA2_Channel1_IRQn interrupt configuration */
  HAL_NVIC_SetPriority(DMA2_Channel1_IRQn, 5, 0);
  HAL_NVIC_EnableIRQ(DMA2_Channel1_IRQn);

}

static void MX_GPIO_Init(void)
{
  GPIO_InitTypeDef GPIO_InitStruct = {0};

  /* GPIO Ports Clock Enable */
  __HAL_RCC_GPIOC_CLK_ENABLE();
  __HAL_RCC_GPIOF_CLK_ENABLE();
  __HAL_RCC_GPIOA_CLK_ENABLE();
  __HAL_RCC_GPIOB_CLK_ENABLE();
  __HAL_RCC_GPIOD_CLK_ENABLE();

  /*Configure GPIO pin Output Level */
  HAL_GPIO_WritePin(GPIOC, EEP_WP_Pin|INDICATOR_YELLOW_Pin|INDICATOR_RED_Pin, GPIO_PIN_RESET);

  /*Configure GPIO pin Output Level */
  HAL_GPIO_WritePin(GPIOA, LIN_EN_Pin|SPI1_CS1_Pin|LED_ER_Pin|LED_OK_Pin, GPIO_PIN_RESET);

  /*Configure GPIO pin Output Level */
  HAL_GPIO_WritePin(GPIOB, SPI1_CSS2_Pin|INDICATOR_GREEN_Pin|RS485_RX_TX_Pin, GPIO_PIN_RESET);

  /*Configure GPIO pins : IMU_INT1_Pin IMU_INT2_Pin Chopper__OV_Pin */
  GPIO_InitStruct.Pin = IMU_INT1_Pin|IMU_INT2_Pin|Chopper__OV_Pin;
  GPIO_InitStruct.Mode = GPIO_MODE_INPUT;
  GPIO_InitStruct.Pull = GPIO_NOPULL;
  HAL_GPIO_Init(GPIOC, &GPIO_InitStruct);

  /*Configure GPIO pins : EEP_WP_Pin INDICATOR_YELLOW_Pin INDICATOR_RED_Pin */
  GPIO_InitStruct.Pin = EEP_WP_Pin|INDICATOR_YELLOW_Pin|INDICATOR_RED_Pin;
  GPIO_InitStruct.Mode = GPIO_MODE_OUTPUT_PP;
  GPIO_InitStruct.Pull = GPIO_NOPULL;
  GPIO_InitStruct.Speed = GPIO_SPEED_FREQ_LOW;
  HAL_GPIO_Init(GPIOC, &GPIO_InitStruct);

  /*Configure GPIO pins : LIN_EN_Pin SPI1_CS1_Pin LED_ER_Pin LED_OK_Pin */
  GPIO_InitStruct.Pin = LIN_EN_Pin|SPI1_CS1_Pin|LED_ER_Pin|LED_OK_Pin;
  GPIO_InitStruct.Mode = GPIO_MODE_OUTPUT_PP;
  GPIO_InitStruct.Pull = GPIO_NOPULL;
  GPIO_InitStruct.Speed = GPIO_SPEED_FREQ_LOW;
  HAL_GPIO_Init(GPIOA, &GPIO_InitStruct);

  /*Configure GPIO pins : SPI1_CSS2_Pin INDICATOR_GREEN_Pin RS485_RX_TX_Pin */
  GPIO_InitStruct.Pin = SPI1_CSS2_Pin|INDICATOR_GREEN_Pin|RS485_RX_TX_Pin;
  GPIO_InitStruct.Mode = GPIO_MODE_OUTPUT_PP;
  GPIO_InitStruct.Pull = GPIO_NOPULL;
  GPIO_InitStruct.Speed = GPIO_SPEED_FREQ_LOW;
  HAL_GPIO_Init(GPIOB, &GPIO_InitStruct);

  /*Configure GPIO pins : INA2_ALERT_Pin INA1_ALERT_Pin */
  GPIO_InitStruct.Pin = INA2_ALERT_Pin|INA1_ALERT_Pin;
  GPIO_InitStruct.Mode = GPIO_MODE_INPUT;
  GPIO_InitStruct.Pull = GPIO_NOPULL;
  HAL_GPIO_Init(GPIOB, &GPIO_InitStruct);

}

/* USER CODE BEGIN 4 */
void HAL_FDCAN_RxFifo0Callback(FDCAN_HandleTypeDef *hfdcan, uint32_t RxFifo0ITs)
{
  if ((RxFifo0ITs & FDCAN_IT_RX_FIFO0_NEW_MESSAGE) != RESET) {
    FDCAN_RxHeaderTypeDef RxHeader;
    uint8_t RxData[8];

    /* Retrieve Rx messages from RX FIFO0 */
    if (HAL_FDCAN_GetRxMessage(hfdcan, FDCAN_RX_FIFO0, &RxHeader, RxData) != HAL_OK) {
      Error_Handler();
      return;
    }

    uint8_t realID = (uint8_t)RxHeader.Identifier & 0xFF;
    if ( !(realID == brakeVescID || realID == testVescID) )
    {
      newVescID = realID;
      return;
    }
    else
    {
      newVescID = 0x00;
    }

    uint8_t message = (uint8_t)((RxHeader.Identifier >> 8) & 0xFF);
    VESC_RawFrame rawFrame;

    halcan2vesc(&rawFrame, &RxHeader, RxData);

    if (realID == brakeVescID)
    {
      switch (message)
      {
        case VESC_COMMAND_STATUS_1:
        {
          VESC_Status_1 status1;

          VESC_convertRawToStatus1(&status1, &rawFrame);
          //Ignore duty because who cares
          brakeMotorStatus.speed = status1.erpm;
          brakeMotorStatus.current = status1.current * 100.0f;
          break;
        }
        case VESC_COMMAND_STATUS_5:
        {
          VESC_Status_5 status5;

          VESC_convertRawToStatus5(&status5, &rawFrame);
          brakeMotorStatus.voltage = status5.voltsIn * 100.0f;
          break;
        }
        default:
        {
          break;
        }
      }
    }
    else if (realID == testVescID)
    {
      switch (message)
      {
        case VESC_COMMAND_STATUS_1:
        {
          VESC_Status_1 status1;

          VESC_convertRawToStatus1(&status1, &rawFrame);
          //Ignore duty because who cares
          testMotorStatus.speed = status1.erpm;
          testMotorStatus.current = status1.current * 100.0f;
          break;
        }
        case VESC_COMMAND_STATUS_5:
        {
          VESC_Status_5 status5;

          VESC_convertRawToStatus5(&status5, &rawFrame);
          testMotorStatus.voltage = status5.voltsIn * 100.0f;
          break;
        }
        default:
        {
          break;
        }
      }
    }

  }
}
/* USER CODE END 4 */

void StartBlinkTask(void *argument)
{
  /* USER CODE BEGIN 5 */
  /* Infinite loop */
  for(;;)
  {
    HAL_GPIO_TogglePin(LED_OK_GPIO_Port, LED_OK_Pin);
    osDelay(100);
  }
  /* USER CODE END 5 */
}

void StartRegulatorTask(void *argument)
{
  /* USER CODE BEGIN StartRegulatorTask */
  /* Infinite loop */
  for(;;)
  {
    if (regulatorON)
    {
      regulateTorquePI(torqueSetpoint, torqueValue, &brakeMotorVescData);
      if (brakeMotorVescData < 0)
      {
        brakeMotorVescCommand = VESC_COMMAND_SET_CURRENT_BRAKE;
      }
      else
      {
        brakeMotorVescCommand = VESC_COMMAND_SET_CURRENT;
        brakeMotorVescData = -brakeMotorVescData;
      }

      CAN_TransmitVescCommand(&hfdcan1, brakeVescID, brakeMotorVescCommand, brakeMotorVescData);
    }
    else
    {
      resetRegulatorState();
    }
    osDelay(100);
  }
  /* USER CODE END StartRegulatorTask */
}

void StartUartTxTask(void *argument)
{
  /* USER CODE BEGIN StartUartTxTask */
  /* Infinite loop */
  for(;;)
  {
    struct Message msg;

    UART_CreateMessage16(&msg, FEEDBACK_BRAKE_MOTOR_SPEED, brakeMotorStatus.speed);
    UART_TransmitMessageDMA(&huart1, &msg);
    UART_CreateMessage16(&msg, FEEDBACK_BRAKE_MOTOR_CURRENT, brakeMotorStatus.current);
    UART_TransmitMessageDMA(&huart1, &msg);
    UART_CreateMessage16(&msg, FEEDBACK_BRAKE_MOTOR_VOLTAGE, brakeMotorStatus.voltage);
    UART_TransmitMessageDMA(&huart1, &msg);

    UART_CreateMessage16(&msg, FEEDBACK_TEST_MOTOR_SPEED, testMotorStatus.speed);
    UART_TransmitMessageDMA(&huart1, &msg);
    UART_CreateMessage16(&msg, FEEDBACK_TEST_MOTOR_CURRENT, testMotorStatus.current);
    UART_TransmitMessageDMA(&huart1, &msg);
    UART_CreateMessage16(&msg, FEEDBACK_TEST_MOTOR_VOLTAGE, testMotorStatus.voltage);
    UART_TransmitMessageDMA(&huart1, &msg);

    if (newVescID != 0x00)
    {
      UART_CreateMessage8(&msg, NEW_CAN_ID, newVescID);
      UART_TransmitMessageDMA(&huart1, &msg);
    }

    osDelay(50);
  }
  /* USER CODE END StartUartTxTask */
}

void StartUartRxTask(void *argument)
{
  /* USER CODE BEGIN StartUartRxTask */
  /// Commands from ESP
  UART_StartReceiveDMA(&huart1, &hdma_usart1_rx);
  HAL_Delay(1000);

  /* Infinite loop */
  for(;;)
  {
    UART_ProcessRxDmaBuffer(&huart1, &hfdcan1, &hdma_usart1_rx);
    osDelay(10);
  }
  /* USER CODE END StartUartRxTask */
}

void StartCanTxBrakeTask(void *argument)
{
  /* USER CODE BEGIN StartCanTxBrakeTask */
  while(!uart_started)
  {
    osDelay(1);
  }

  /* Infinite loop */
  for(;;)
  {
    if (!regulatorON)
    {
      CAN_TransmitVescCommand(&hfdcan1, brakeVescID, brakeMotorVescCommand, brakeMotorVescData);
    }
    osDelay(100);
  }
  /* USER CODE END StartCanTxBrakeTask */
}

void StartCanTxTestTask(void *argument)
{
  /* USER CODE BEGIN StartCanTxTestTask */
  while(!uart_started)
  {
    osDelay(1);
  }

  /* Infinite loop */
  for(;;)
  {
    //Tested motor has to work no matter what brake motor is doing
    CAN_TransmitVescCommand(&hfdcan1, testVescID, testMotorVescCommand, testMotorVescData);
    osDelay(100);
  }
  /* USER CODE END StartCanTxTestTask */
}

void StartInaTask(void *argument)
{
  /* USER CODE BEGIN StartInaTask */
  osDelay(500);
  while(1==1)
  {
    osDelay(100);
  }
  volatile uint8_t found_address = 0;
  HAL_StatusTypeDef result;

  // Przeszukujemy adresy 7-bitowe od 1 do 127
  for (uint8_t i = 1; i < 128; i++)
  {
      // HAL wymaga adresu przesuniętego w lewo (8-bitowego)
      // Używamy funkcji HAL_I2C_IsDeviceReady, która wysyła tylko adres i czeka na ACK
      result = HAL_I2C_IsDeviceReady(&hi2c1, (i << 1), 3, 5);

      if (result == HAL_OK)
      {
          found_address = i;
          if (found_address == 120)
          {
            HAL_GPIO_TogglePin(LED_OK_GPIO_Port, LED_ER_Pin);
          }
          // Tutaj możesz postawić Breakpoint w debuggerze!
          // Jeśli program tu wejdzie, 'found_address' pokaże Twój czysty, 7-bitowy adres.

          // Opcjonalnie: jeśli masz podpiętych kilka układów, nie przerywaj pętli (usuń break)
          break;
      }
  }

  osDelay(1000);
  INA237_InitDevice(0x44);
  /* Infinite loop */
  for(;;)
  {
    uint16_t temp = INA237_ReadRegister(0x44, 0x3e);
    osDelay(100);
  }
  /* USER CODE END StartInaTask */
}

void HAL_TIM_PeriodElapsedCallback(TIM_HandleTypeDef *htim)
{
  if (htim->Instance == TIM1)
  {
    HAL_IncTick();
  }
}

void Error_Handler(void)
{
  __disable_irq();
  while (1)
  {
  }
}
